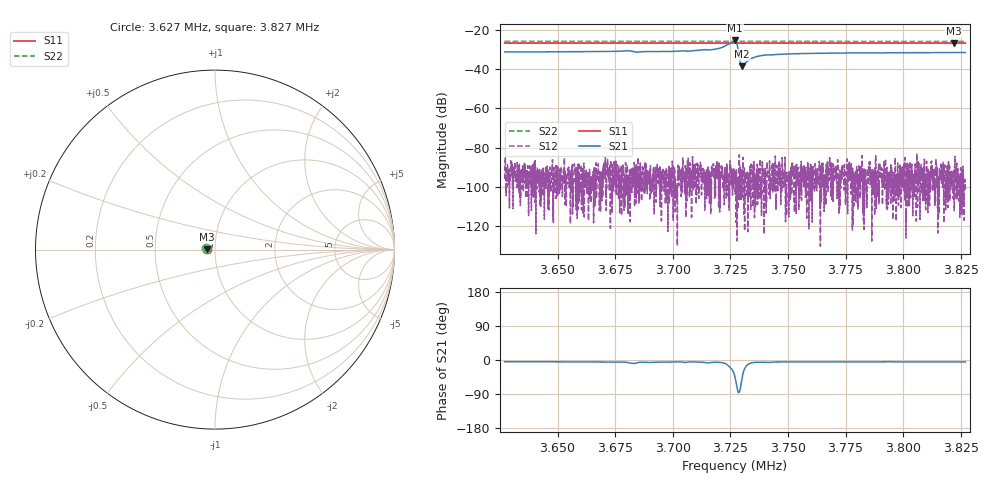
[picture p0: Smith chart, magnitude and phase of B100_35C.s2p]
# Hz S dB R 50.000
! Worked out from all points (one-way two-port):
!   6401 points, 3.627 MHz to 3.827 MHz, reference 50 ohm
!   highest |S21| = -25.44 dB at 3.727 MHz (marker M1); lowest = -38.5 dB at 3.73 MHz (marker M2)
!   lowest |S11| = -26.8 dB at 3.822 MHz (marker M3), VSWR 1.10, Z = 45.6 + j0.352 ohm
!   |S11| at or under -10 dB: start of sweep to end of sweep
!   |S22| runs from -26.0 to -25.8 dB; largest |S21 - S12| = 0.053
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3627031  -26.74 173.6  -31.29 -4.6  -95.83 29.5  -25.84 172.0
3660375  -26.74 173.8  -31.13 -4.9  -98.19 29.1  -25.86 172.3
3680562  -26.75 174.0  -30.68 -6.7  -102.25 88.8  -25.86 172.4
3684562  -26.75 174.1  -31.37 -7.3  -93.74 -20.4  -25.86 172.5
3693718  -26.75 174.1  -31.11 -5.6  -94.37 -55.2  -25.87 172.6
3716844  -26.76 174.3  -30.16 -6.3  -92.18 119.0  -25.88 172.8
3721125  -26.75 174.3  -29.09 -6.9  -89.99 46.8  -25.88 172.8
3726437  -26.75 174.4  -25.88 -32.8  -94.21 6.7  -25.89 172.9
3727031  -26.75 174.4  -25.44 -45.2  -93.74 132.9  -25.89 172.9
3727437  -26.75 174.4  -25.68 -57.6  -94.25 -16.9  -25.89 172.9
3727844  -26.76 174.4  -26.82 -71.4  -97.60 -62.0  -25.88 172.9
3729312  -26.76 174.4  -36.40 -75.8  -92.45 79.8  -25.89 172.9
3729718  -26.76 174.4  -38.06 -61.4  -106.28 -52.3  -25.89 172.9
3730094  -26.75 174.4  -38.52 -47.2  -93.61 133.2  -25.89 172.9
3730781  -26.76 174.4  -37.92 -29.3  -104.80 -123.6  -25.88 172.9
3732812  -26.76 174.4  -35.68 -10.9  -97.55 -78.7  -25.89 173.0
3734562  -26.76 174.4  -34.38 -7.1  -91.46 -4.9  -25.89 172.9
3738468  -26.76 174.5  -33.12 -5.8  -99.51 104.8  -25.89 173.0
3760375  -26.76 174.7  -32.00 -5.0  -95.69 169.5  -25.91 173.1
3793718  -26.76 175.0  -31.71 -4.6  -97.44 20.2  -25.92 173.4
3822031  -26.78 175.2  -31.58 -5.1  -91.81 -100.0  -25.94 173.7
3827031  -26.77 175.3  -31.57 -5.1  -101.39 78.2  -25.95 173.7
